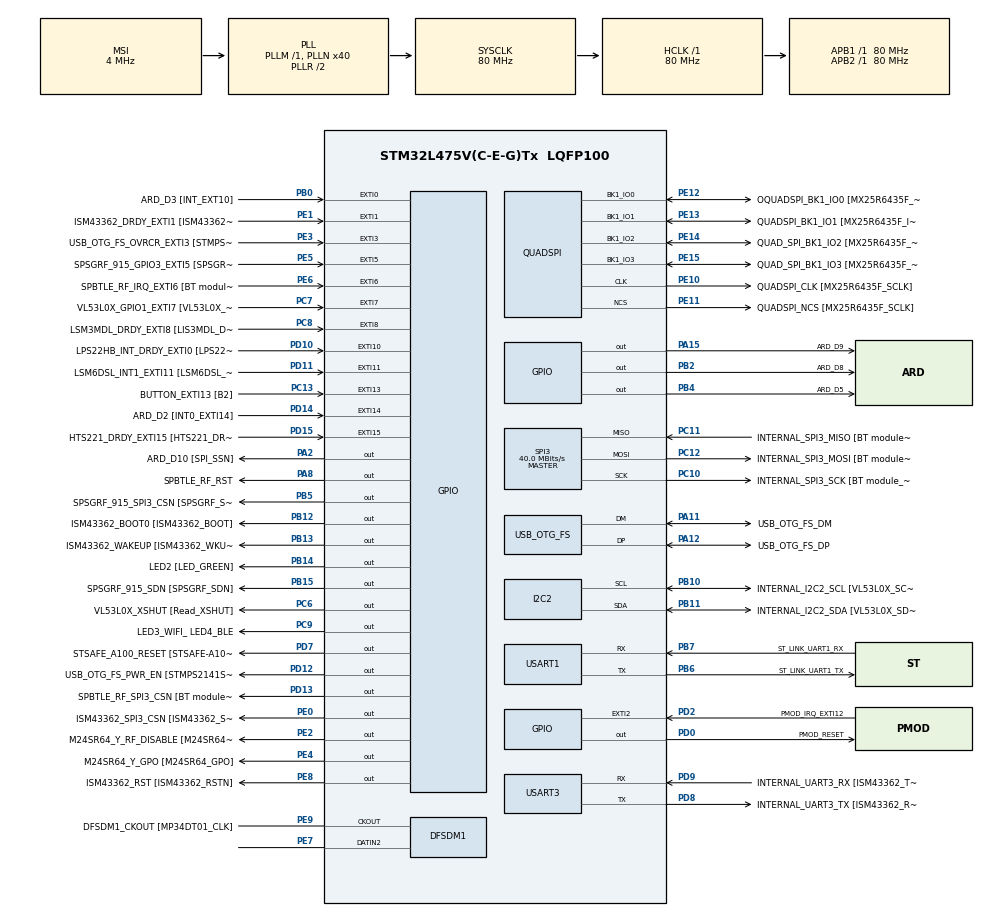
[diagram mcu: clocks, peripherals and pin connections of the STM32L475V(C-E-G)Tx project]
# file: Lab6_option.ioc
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DFSDM1.Divider=40
DFSDM1.DmaMode_reg_FIL0=ENABLE
DFSDM1.FastMode_reg_FIL0=ENABLE
DFSDM1.Filter_regChannel_FIL0=DFSDM_CHANNEL_2
DFSDM1.SincOrder_FIL0=DFSDM_FILTER_SINC3_ORDER
Dma.DFSDM1_FLT0.0.Direction=DMA_PERIPH_TO_MEMORY
Dma.DFSDM1_FLT0.0.Instance=DMA1_Channel4
Dma.DFSDM1_FLT0.0.MemDataAlignment=DMA_MDATAALIGN_WORD
Dma.DFSDM1_FLT0.0.MemInc=DMA_MINC_ENABLE
Dma.DFSDM1_FLT0.0.Mode=DMA_CIRCULAR
Dma.DFSDM1_FLT0.0.PeriphDataAlignment=DMA_PDATAALIGN_WORD
Dma.DFSDM1_FLT0.0.PeriphInc=DMA_PINC_DISABLE
Dma.DFSDM1_FLT0.0.Priority=DMA_PRIORITY_LOW
Dma.Request0=DFSDM1_FLT0
I2C2.Timing=0x10D19CE4
Mcu.Family=STM32L4
Mcu.Name=STM32L475V(C-E-G)Tx
Mcu.Package=LQFP100
NVIC.DMA1_Channel4_IRQn=true\:0\:0\:false\:false\:true\:false\:true\:true
NVIC.EXTI15_10_IRQn=true\:0\:0\:false\:false\:true\:true\:true\:true
NVIC.EXTI9_5_IRQn=true\:0\:0\:false\:false\:true\:true\:true\:true
NVIC.PriorityGroup=NVIC_PRIORITYGROUP_4
PA0.GPIO_Label=ARD_D1 [UART4_TX]
PA0.Signal=UART4_TX
PA1.GPIO_Label=ARD_D0 [UART4_RX]
PA1.Signal=UART4_RX
PA10.GPIO_Label=USB_OTG_FS_ID
PA10.Signal=USB_OTG_FS_ID
PA11.GPIO_Label=USB_OTG_FS_DM
PA11.Mode=Device_Only
PA11.Signal=USB_OTG_FS_DM
PA12.GPIO_Label=USB_OTG_FS_DP
PA12.Mode=Device_Only
PA12.Signal=USB_OTG_FS_DP
PA13\ (JTMS-SWDIO).GPIO_Label=SYS_JTMS_SWDIO
PA13\ (JTMS-SWDIO).Mode=Serial_Wire
PA13\ (JTMS-SWDIO).Signal=SYS_JTMS-SWDIO
PA14\ (JTCK-SWCLK).GPIO_Label=SYS_JTCK_SWCLK
PA14\ (JTCK-SWCLK).Mode=Serial_Wire
PA14\ (JTCK-SWCLK).Signal=SYS_JTCK-SWCLK
PA15\ (JTDI).GPIO_Label=ARD_D9
PA15\ (JTDI).Signal=GPIO_Output
PA2.GPIO_Label=ARD_D10 [SPI_SSN]
PA2.Signal=GPIO_Output
PA3.GPIO_Label=ARD_D4
PA3.Signal=S_TIM2_CH4
PA4.GPIO_Label=ARD_D7
PA4.Signal=ADCx_IN9
PA5.GPIO_Label=ARD_D13 [SPI1_SCK]
PA5.Signal=SPI1_SCK
PA6.GPIO_Label=ARD_D12 [SPI1_MISO]
PA6.Signal=SPI1_MISO
PA7.GPIO_Label=ARD_D11 [SPI1_MOSI]
PA7.Signal=SPI1_MOSI
PA8.GPIO_Label=SPBTLE_RF_RST
PA8.Signal=GPIO_Output
PA9.GPIO_Label=USB_OTG_FS_VBUS [STMPS2141STR_OUT]
PA9.Signal=USB_OTG_FS_VBUS
PB0.GPIO_Label=ARD_D3 [INT_EXT10]
PB0.Signal=GPXTI0
PB1.GPIO_Label=ARD_D6 [ADC1_IN6]
PB1.Signal=ADCx_IN16
PB10.GPIO_Label=INTERNAL_I2C2_SCL [VL53L0X_SCL]
PB10.GPIO_Pu=GPIO_PULLUP
PB10.Mode=I2C
PB10.Signal=I2C2_SCL
PB11.GPIO_Label=INTERNAL_I2C2_SDA [VL53L0X_SDA]
PB11.GPIO_Pu=GPIO_PULLUP
PB11.Mode=I2C
PB11.Signal=I2C2_SDA
PB12.GPIO_Label=ISM43362_BOOT0 [ISM43362_BOOT]
PB12.Signal=GPIO_Output
PB13.GPIO_Label=ISM43362_WAKEUP [ISM43362_WKUP]
PB13.Signal=GPIO_Output
PB14.GPIO_Label=LED2 [LED_GREEN]
PB14.Signal=GPIO_Output
PB15.GPIO_Label=SPSGRF_915_SDN [SPSGRF_SDN]
PB15.Signal=GPIO_Output
PB2.GPIO_Label=ARD_D8
PB2.Signal=GPIO_Output
PB3\ (JTDO-TRACESWO).GPIO_Label=SYS_JTD0_SWO
PB3\ (JTDO-TRACESWO).Signal=SYS_JTDO-SWO
PB4\ (NJTRST).GPIO_Label=ARD_D5
PB4\ (NJTRST).Signal=GPIO_Output
PB5.GPIO_Label=SPSGRF_915_SPI3_CSN [SPSGRF_SPI_CS]
PB5.PinState=GPIO_PIN_SET
PB5.Signal=GPIO_Output
PB6.GPIO_Label=ST_LINK_UART1_TX
PB6.Mode=Asynchronous
PB6.Signal=USART1_TX
PB7.GPIO_Label=ST_LINK_UART1_RX
PB7.Mode=Asynchronous
PB7.Signal=USART1_RX
PB8.GPIO_Label=ARD_D15 [I2C1_SCL]
PB8.Signal=I2C1_SCL
PB9.GPIO_Label=ARD_D14 [I2C1_SDA]
PB9.Signal=I2C1_SDA
PC0.GPIO_Label=ARD_A5 [ADC]
PC0.Signal=ADCx_IN1
PC1.GPIO_Label=ARD_A4 [ADC]
PC1.Signal=ADCx_IN2
PC10.GPIO_Label=INTERNAL_SPI3_SCK [BT module_SPI_SCLK] [ISM43362_SCK]
PC10.Mode=Full_Duplex_Master
PC10.Signal=SPI3_SCK
PC11.GPIO_Label=INTERNAL_SPI3_MISO [BT module_SPI_MISO] [ISM43362_MISO]
PC11.Mode=Full_Duplex_Master
PC11.Signal=SPI3_MISO
PC12.GPIO_Label=INTERNAL_SPI3_MOSI [BT module_SPI_MOSI] [ISM43362_MOSI]
PC12.Mode=Full_Duplex_Master
PC12.Signal=SPI3_MOSI
PC13.GPIO_Label=BUTTON_EXTI13 [B2]
PC13.GPIO_ModeDefaultEXTI=GPIO_MODE_IT_FALLING
PC13.Signal=GPXTI13
PC14-OSC32_IN\ (PC14).Mode=LSE-External-Oscillator
PC14-OSC32_IN\ (PC14).Signal=RCC_OSC32_IN
PC15-OSC32_OUT\ (PC15).Mode=LSE-External-Oscillator
PC15-OSC32_OUT\ (PC15).Signal=RCC_OSC32_OUT
PC2.GPIO_Label=ARD_A3 [ADC]
PC2.Signal=ADCx_IN3
PC3.GPIO_Label=ARD_A2 [ADC]
PC3.Signal=ADCx_IN4
PC4.GPIO_Label=ARD_A1 [ADC]
PC4.Signal=ADCx_IN13
PC5.GPIO_Label=ARD_A0 [ADC]
PC5.Signal=ADCx_IN14
PC6.GPIO_Label=VL53L0X_XSHUT [Read_XSHUT]
PC6.Signal=GPIO_Output
PC7.GPIO_Label=VL53L0X_GPIO1_EXTI7 [VL53L0X_GPIO1]
PC7.Signal=GPXTI7
PC8.GPIO_Label=LSM3MDL_DRDY_EXTI8 [LIS3MDL_DRDY]
PC8.Signal=GPXTI8
PC9.GPIO_Label=LED3_WIFI_ LED4_BLE
PC9.Signal=GPIO_Output
PD0.GPIO_Label=PMOD_RESET
PD0.Signal=GPIO_Output
PD1.GPIO_Label=PMOD_SPI2_SCK
PD1.Signal=SPI2_SCK
PD10.GPIO_Label=LPS22HB_INT_DRDY_EXTI0 [LPS22HB_INT_DRDY] 
PD10.Signal=GPXTI10
PD11.GPIO_Label=LSM6DSL_INT1_EXTI11 [LSM6DSL_INT1]
PD11.Signal=GPXTI11
PD12.GPIO_Label=USB_OTG_FS_PWR_EN [STMPS2141STR_EN]
PD12.Signal=GPIO_Output
PD13.GPIO_Label=SPBTLE_RF_SPI3_CSN [BT module_SPI_CS]
PD13.PinState=GPIO_PIN_SET
PD13.Signal=GPIO_Output
PD14.GPIO_Label=ARD_D2 [INT0_EXTI14]
PD14.Signal=GPXTI14
PD15.GPIO_Label=HTS221_DRDY_EXTI15 [HTS221_DRDY]
PD15.Signal=GPXTI15
PD2.GPIO_Label=PMOD_IRQ_EXTI12
PD2.Signal=GPXTI2
PD3.GPIO_Label=PMOD_UART2_CTS
PD3.Signal=USART2_CTS
PD4.GPIO_Label=PMOD_UART2_RTS
PD4.Signal=USART2_RTS
PD5.GPIO_Label=PMOD_UART2_TX
PD5.Signal=USART2_TX
PD6.GPIO_Label=PMOD_UART2_RX
PD6.Signal=USART2_RX
PD7.GPIO_Label=STSAFE_A100_RESET [STSAFE-A100_RESET]
PD7.Signal=GPIO_Output
PD8.GPIO_Label=INTERNAL_UART3_TX [ISM43362_RX]
PD8.Mode=Asynchronous
PD8.Signal=USART3_TX
PD9.GPIO_Label=INTERNAL_UART3_RX [ISM43362_TX]
PD9.Mode=Asynchronous
PD9.Signal=USART3_RX
PE0.GPIO_Label=ISM43362_SPI3_CSN [ISM43362_SSN]
PE0.PinState=GPIO_PIN_SET
PE0.Signal=GPIO_Output
PE1.GPIO_Label=ISM43362_DRDY_EXTI1 [ISM43362_DATARDY]
PE1.Signal=GPXTI1
PE10.GPIO_Label=QUADSPI_CLK [MX25R6435F_SCLK]
PE10.Mode=Single Bank
PE10.Signal=QUADSPI_CLK
PE11.GPIO_Label=QUADSPI_NCS [MX25R6435F_SCLK]
PE11.Mode=Single Bank
PE11.Signal=QUADSPI_NCS
PE12.GPIO_Label=OQUADSPI_BK1_IO0 [MX25R6435F_IO0]
PE12.Mode=Single Bank
PE12.Signal=QUADSPI_BK1_IO0
PE13.GPIO_Label=QUADSPI_BK1_IO1 [MX25R6435F_IO1]
PE13.Mode=Single Bank
PE13.Signal=QUADSPI_BK1_IO1
PE14.GPIO_Label=QUAD_SPI_BK1_IO2 [MX25R6435F_IO2]
PE14.Mode=Single Bank
PE14.Signal=QUADSPI_BK1_IO2
PE15.GPIO_Label=QUAD_SPI_BK1_IO3 [MX25R6435F_IO3]
PE15.Mode=Single Bank
PE15.Signal=QUADSPI_BK1_IO3
PE2.GPIO_Label=M24SR64_Y_RF_DISABLE [M24SR64_RFDIS]
PE2.Signal=GPIO_Output
PE3.GPIO_Label=USB_OTG_FS_OVRCR_EXTI3 [STMPS2141STR_FAULT]
PE3.Signal=GPXTI3
PE4.GPIO_Label=M24SR64_Y_GPO [M24SR64_GPO]
PE4.Signal=GPIO_Output
PE5.GPIO_Label=SPSGRF_915_GPIO3_EXTI5 [SPSGRF_GPIO_3]
PE5.Signal=GPXTI5
PE6.GPIO_Label=SPBTLE_RF_IRQ_EXTI6 [BT module_SPI_IRQ]
PE6.Signal=GPXTI6
PE7.Signal=S_DATAIN2DFSDM1
PE8.GPIO_Label=ISM43362_RST [ISM43362_RSTN]
PE8.Signal=GPIO_Output
PE9.GPIO_Label=DFSDM1_CKOUT [MP34DT01_CLK]
PE9.Signal=S_CKOUTDFSDM1
ProjectManager.HeapSize=0x200
ProjectManager.StackSize=0x400
ProjectManager.TargetToolchain=STM32CubeIDE
QUADSPI.ClockPrescaler=2
QUADSPI.FifoThreshold=4
QUADSPI.FlashSize=23
QUADSPI.SampleShifting=QSPI_SAMPLE_SHIFTING_HALFCYCLE
RCC.ADCFreq_Value=48000000
RCC.AHBFreq_Value=80000000
RCC.APB1Freq_Value=80000000
RCC.APB1TimFreq_Value=80000000
RCC.APB2Freq_Value=80000000
RCC.APB2TimFreq_Value=80000000
RCC.CortexFreq_Value=80000000
RCC.HCLKFreq_Value=80000000
RCC.HSE_VALUE=8000000
RCC.HSI_VALUE=16000000
RCC.MSI_VALUE=4000000
RCC.PLLN=40
RCC.PLLSAI1N=24
RCC.SYSCLKFreq_VALUE=80000000
RCC.SYSCLKSource=RCC_SYSCLKSOURCE_PLLCLK
RCC.USBFreq_Value=48000000
RCC.VCOOutputFreq_Value=160000000
SH.ADCx_IN1.0=ADC1_IN1
SH.ADCx_IN13.0=ADC1_IN13
SH.ADCx_IN14.0=ADC1_IN14
SH.ADCx_IN16.0=ADC1_IN16
SH.ADCx_IN2.0=ADC1_IN2
SH.ADCx_IN3.0=ADC1_IN3
SH.ADCx_IN4.0=ADC1_IN4
SH.ADCx_IN9.0=ADC1_IN9
SH.S_CKOUTDFSDM1.0=DFSDM1_CKOUT
SH.S_CKOUTDFSDM1.1=DFSDM1_CKOUT
SH.S_CKOUTDFSDM1.2=DFSDM1_CKOUT,PDM_SPI_input_from_ch2_and_internal_clock
SH.S_DATAIN2DFSDM1.0=DFSDM1_DATIN2,PDM_SPI_input_from_ch2_and_internal_clock
SH.S_TIM2_CH4.0=TIM2_CH4
SPI3.CalculateBaudRate=40.0 MBits/s
SPI3.Direction=SPI_DIRECTION_2LINES
SPI3.Mode=SPI_MODE_MASTER
SPI3.VirtualType=VM_MASTER
USART1.VirtualMode-Asynchronous=VM_ASYNC
USART3.VirtualMode-Asynchronous=VM_ASYNC
USB_OTG_FS.VirtualMode=Device_Only
board=B-L475E-IOT01A2

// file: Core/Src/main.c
/* USER CODE BEGIN Header */
/**
  ******************************************************************************
  * @file           : main.c
  * @brief          : Main program body
  ******************************************************************************
  * @attention
  *
  * Copyright (c) 2026 STMicroelectronics.
  * All rights reserved.
  *
  * This software is licensed under terms that can be found in the LICENSE file
  * in the root directory of this software component.
  * If no LICENSE file comes with this software, it is provided AS-IS.
  *
  ******************************************************************************
  */
/* USER CODE END Header */
#include "main.h"

DFSDM_Filter_HandleTypeDef hdfsdm1_filter0;
DFSDM_Channel_HandleTypeDef hdfsdm1_channel2;
DMA_HandleTypeDef hdma_dfsdm1_flt0;

I2C_HandleTypeDef hi2c2;

QSPI_HandleTypeDef hqspi;

SPI_HandleTypeDef hspi3;

UART_HandleTypeDef huart1;
UART_HandleTypeDef huart3;

PCD_HandleTypeDef hpcd_USB_OTG_FS;

/* USER CODE BEGIN PV */
#define AUDIO_REC 1024
int32_t RecBuf[AUDIO_REC];
int32_t PlayBuf[AUDIO_REC];

uint8_t DmaRecHalfBuffCplt=0;
uint8_t DmaRecBuffCplt=0;
/* USER CODE END PV */

void SystemClock_Config(void);
static void MX_GPIO_Init(void);
static void MX_DMA_Init(void);
static void MX_DFSDM1_Init(void);
static void MX_I2C2_Init(void);
static void MX_QUADSPI_Init(void);
static void MX_SPI3_Init(void);
static void MX_USART1_UART_Init(void);
static void MX_USART3_UART_Init(void);
static void MX_USB_OTG_FS_PCD_Init(void);

int main(void)
{

  /* USER CODE BEGIN 1 */
  uint16_t i=0;
  /* USER CODE END 1 */

  /* MCU Configuration--------------------------------------------------------*/

  /* Reset of all peripherals, Initializes the Flash interface and the Systick. */
  HAL_Init();

  /* Configure the system clock */
  SystemClock_Config();

  /* Initialize all configured peripherals */
  MX_GPIO_Init();
  MX_DMA_Init();
  MX_DFSDM1_Init();
  MX_I2C2_Init();
  MX_QUADSPI_Init();
  MX_SPI3_Init();
  MX_USART1_UART_Init();
  MX_USART3_UART_Init();
  MX_USB_OTG_FS_PCD_Init();
  /* USER CODE BEGIN 2 */
  HAL_DFSDM_FilterRegularStart_DMA(&hdfsdm1_filter0, RecBuf, AUDIO_REC)
  ;
  /* USER CODE END 2 */

  /* Infinite loop */
  while (1)
  {

    /* USER CODE BEGIN 3 */
	if(DmaRecHalfBuffCplt==1)
	{
		for(i=0;i<AUDIO_REC/2;i++)
			PlayBuf[i]=RecBuf[i]>>8;

		DmaRecBuffCplt=0;
	}
	if(DmaRecBuffCplt==1)
	{
		for(i=AUDIO_REC/2;i<AUDIO_REC;i++)
			PlayBuf[i]=RecBuf[i]>>8;

		DmaRecHalfBuffCplt=0;
	}
  }
  /* USER CODE END 3 */
}

void SystemClock_Config(void)
{
  RCC_OscInitTypeDef RCC_OscInitStruct = {0};
  RCC_ClkInitTypeDef RCC_ClkInitStruct = {0};

  /** Configure the main internal regulator output voltage
  */
  if (HAL_PWREx_ControlVoltageScaling(PWR_REGULATOR_VOLTAGE_SCALE1) != HAL_OK)
  {
    Error_Handler();
  }

  /** Configure LSE Drive Capability
  */
  HAL_PWR_EnableBkUpAccess();
  __HAL_RCC_LSEDRIVE_CONFIG(RCC_LSEDRIVE_LOW);

  /** Initializes the RCC Oscillators according to the specified parameters
  * in the RCC_OscInitTypeDef structure.
  */
  RCC_OscInitStruct.OscillatorType = RCC_OSCILLATORTYPE_LSE|RCC_OSCILLATORTYPE_MSI;
  RCC_OscInitStruct.LSEState = RCC_LSE_ON;
  RCC_OscInitStruct.MSIState = RCC_MSI_ON;
  RCC_OscInitStruct.MSICalibrationValue = 0;
  RCC_OscInitStruct.MSIClockRange = RCC_MSIRANGE_6;
  RCC_OscInitStruct.PLL.PLLState = RCC_PLL_ON;
  RCC_OscInitStruct.PLL.PLLSource = RCC_PLLSOURCE_MSI;
  RCC_OscInitStruct.PLL.PLLM = 1;
  RCC_OscInitStruct.PLL.PLLN = 40;
  RCC_OscInitStruct.PLL.PLLP = RCC_PLLP_DIV7;
  RCC_OscInitStruct.PLL.PLLQ = RCC_PLLQ_DIV2;
  RCC_OscInitStruct.PLL.PLLR = RCC_PLLR_DIV2;
  if (HAL_RCC_OscConfig(&RCC_OscInitStruct) != HAL_OK)
  {
    Error_Handler();
  }

  /** Initializes the CPU, AHB and APB buses clocks
  */
  RCC_ClkInitStruct.ClockType = RCC_CLOCKTYPE_HCLK|RCC_CLOCKTYPE_SYSCLK
                              |RCC_CLOCKTYPE_PCLK1|RCC_CLOCKTYPE_PCLK2;
  RCC_ClkInitStruct.SYSCLKSource = RCC_SYSCLKSOURCE_PLLCLK;
  RCC_ClkInitStruct.AHBCLKDivider = RCC_SYSCLK_DIV1;
  RCC_ClkInitStruct.APB1CLKDivider = RCC_HCLK_DIV1;
  RCC_ClkInitStruct.APB2CLKDivider = RCC_HCLK_DIV1;

  if (HAL_RCC_ClockConfig(&RCC_ClkInitStruct, FLASH_LATENCY_4) != HAL_OK)
  {
    Error_Handler();
  }

  /** Enable MSI Auto calibration
  */
  HAL_RCCEx_EnableMSIPLLMode();
}

static void MX_DFSDM1_Init(void)
{

  hdfsdm1_filter0.Instance = DFSDM1_Filter0;
  hdfsdm1_filter0.Init.RegularParam.Trigger = DFSDM_FILTER_SW_TRIGGER;
  hdfsdm1_filter0.Init.RegularParam.FastMode = ENABLE;
  hdfsdm1_filter0.Init.RegularParam.DmaMode = ENABLE;
  hdfsdm1_filter0.Init.FilterParam.SincOrder = DFSDM_FILTER_SINC3_ORDER;
  hdfsdm1_filter0.Init.FilterParam.Oversampling = 1;
  hdfsdm1_filter0.Init.FilterParam.IntOversampling = 1;
  if (HAL_DFSDM_FilterInit(&hdfsdm1_filter0) != HAL_OK)
  {
    Error_Handler();
  }
  hdfsdm1_channel2.Instance = DFSDM1_Channel2;
  hdfsdm1_channel2.Init.OutputClock.Activation = ENABLE;
  hdfsdm1_channel2.Init.OutputClock.Selection = DFSDM_CHANNEL_OUTPUT_CLOCK_SYSTEM;
  hdfsdm1_channel2.Init.OutputClock.Divider = 40;
  hdfsdm1_channel2.Init.Input.Multiplexer = DFSDM_CHANNEL_EXTERNAL_INPUTS;
  hdfsdm1_channel2.Init.Input.DataPacking = DFSDM_CHANNEL_STANDARD_MODE;
  hdfsdm1_channel2.Init.Input.Pins = DFSDM_CHANNEL_SAME_CHANNEL_PINS;
  hdfsdm1_channel2.Init.SerialInterface.Type = DFSDM_CHANNEL_SPI_RISING;
  hdfsdm1_channel2.Init.SerialInterface.SpiClock = DFSDM_CHANNEL_SPI_CLOCK_INTERNAL;
  hdfsdm1_channel2.Init.Awd.FilterOrder = DFSDM_CHANNEL_FASTSINC_ORDER;
  hdfsdm1_channel2.Init.Awd.Oversampling = 1;
  hdfsdm1_channel2.Init.Offset = 0;
  hdfsdm1_channel2.Init.RightBitShift = 0x00;
  if (HAL_DFSDM_ChannelInit(&hdfsdm1_channel2) != HAL_OK)
  {
    Error_Handler();
  }
  if (HAL_DFSDM_FilterConfigRegChannel(&hdfsdm1_filter0, DFSDM_CHANNEL_2, DFSDM_CONTINUOUS_CONV_ON) != HAL_OK)
  {
    Error_Handler();
  }

}

static void MX_I2C2_Init(void)
{

  hi2c2.Instance = I2C2;
  hi2c2.Init.Timing = 0x10D19CE4;
  hi2c2.Init.OwnAddress1 = 0;
  hi2c2.Init.AddressingMode = I2C_ADDRESSINGMODE_7BIT;
  hi2c2.Init.DualAddressMode = I2C_DUALADDRESS_DISABLE;
  hi2c2.Init.OwnAddress2 = 0;
  hi2c2.Init.OwnAddress2Masks = I2C_OA2_NOMASK;
  hi2c2.Init.GeneralCallMode = I2C_GENERALCALL_DISABLE;
  hi2c2.Init.NoStretchMode = I2C_NOSTRETCH_DISABLE;
  if (HAL_I2C_Init(&hi2c2) != HAL_OK)
  {
    Error_Handler();
  }

  /** Configure Analogue filter
  */
  if (HAL_I2CEx_ConfigAnalogFilter(&hi2c2, I2C_ANALOGFILTER_ENABLE) != HAL_OK)
  {
    Error_Handler();
  }

  /** Configure Digital filter
  */
  if (HAL_I2CEx_ConfigDigitalFilter(&hi2c2, 0) != HAL_OK)
  {
    Error_Handler();
  }

}

static void MX_QUADSPI_Init(void)
{

  /* QUADSPI parameter configuration*/
  hqspi.Instance = QUADSPI;
  hqspi.Init.ClockPrescaler = 2;
  hqspi.Init.FifoThreshold = 4;
  hqspi.Init.SampleShifting = QSPI_SAMPLE_SHIFTING_HALFCYCLE;
  hqspi.Init.FlashSize = 23;
  hqspi.Init.ChipSelectHighTime = QSPI_CS_HIGH_TIME_1_CYCLE;
  hqspi.Init.ClockMode = QSPI_CLOCK_MODE_0;
  if (HAL_QSPI_Init(&hqspi) != HAL_OK)
  {
    Error_Handler();
  }

}

static void MX_SPI3_Init(void)
{

  /* SPI3 parameter configuration*/
  hspi3.Instance = SPI3;
  hspi3.Init.Mode = SPI_MODE_MASTER;
  hspi3.Init.Direction = SPI_DIRECTION_2LINES;
  hspi3.Init.DataSize = SPI_DATASIZE_4BIT;
  hspi3.Init.CLKPolarity = SPI_POLARITY_LOW;
  hspi3.Init.CLKPhase = SPI_PHASE_1EDGE;
  hspi3.Init.NSS = SPI_NSS_SOFT;
  hspi3.Init.BaudRatePrescaler = SPI_BAUDRATEPRESCALER_2;
  hspi3.Init.FirstBit = SPI_FIRSTBIT_MSB;
  hspi3.Init.TIMode = SPI_TIMODE_DISABLE;
  hspi3.Init.CRCCalculation = SPI_CRCCALCULATION_DISABLE;
  hspi3.Init.CRCPolynomial = 7;
  hspi3.Init.CRCLength = SPI_CRC_LENGTH_DATASIZE;
  hspi3.Init.NSSPMode = SPI_NSS_PULSE_ENABLE;
  if (HAL_SPI_Init(&hspi3) != HAL_OK)
  {
    Error_Handler();
  }

}

static void MX_USART1_UART_Init(void)
{

  huart1.Instance = USART1;
  huart1.Init.BaudRate = 115200;
  huart1.Init.WordLength = UART_WORDLENGTH_8B;
  huart1.Init.StopBits = UART_STOPBITS_1;
  huart1.Init.Parity = UART_PARITY_NONE;
  huart1.Init.Mode = UART_MODE_TX_RX;
  huart1.Init.HwFlowCtl = UART_HWCONTROL_NONE;
  huart1.Init.OverSampling = UART_OVERSAMPLING_16;
  huart1.Init.OneBitSampling = UART_ONE_BIT_SAMPLE_DISABLE;
  huart1.AdvancedInit.AdvFeatureInit = UART_ADVFEATURE_NO_INIT;
  if (HAL_UART_Init(&huart1) != HAL_OK)
  {
    Error_Handler();
  }

}

static void MX_USART3_UART_Init(void)
{

  huart3.Instance = USART3;
  huart3.Init.BaudRate = 115200;
  huart3.Init.WordLength = UART_WORDLENGTH_8B;
  huart3.Init.StopBits = UART_STOPBITS_1;
  huart3.Init.Parity = UART_PARITY_NONE;
  huart3.Init.Mode = UART_MODE_TX_RX;
  huart3.Init.HwFlowCtl = UART_HWCONTROL_NONE;
  huart3.Init.OverSampling = UART_OVERSAMPLING_16;
  huart3.Init.OneBitSampling = UART_ONE_BIT_SAMPLE_DISABLE;
  huart3.AdvancedInit.AdvFeatureInit = UART_ADVFEATURE_NO_INIT;
  if (HAL_UART_Init(&huart3) != HAL_OK)
  {
    Error_Handler();
  }

}

static void MX_USB_OTG_FS_PCD_Init(void)
{

  hpcd_USB_OTG_FS.Instance = USB_OTG_FS;
  hpcd_USB_OTG_FS.Init.dev_endpoints = 6;
  hpcd_USB_OTG_FS.Init.speed = PCD_SPEED_FULL;
  hpcd_USB_OTG_FS.Init.phy_itface = PCD_PHY_EMBEDDED;
  hpcd_USB_OTG_FS.Init.Sof_enable = DISABLE;
  hpcd_USB_OTG_FS.Init.low_power_enable = DISABLE;
  hpcd_USB_OTG_FS.Init.lpm_enable = DISABLE;
  hpcd_USB_OTG_FS.Init.battery_charging_enable = DISABLE;
  hpcd_USB_OTG_FS.Init.use_dedicated_ep1 = DISABLE;
  hpcd_USB_OTG_FS.Init.vbus_sensing_enable = DISABLE;
  if (HAL_PCD_Init(&hpcd_USB_OTG_FS) != HAL_OK)
  {
    Error_Handler();
  }

}

static void MX_DMA_Init(void)
{

  /* DMA controller clock enable */
  __HAL_RCC_DMA1_CLK_ENABLE();

  /* DMA interrupt init */
  /* DMA1_Channel4_IRQn interrupt configuration */
  HAL_NVIC_SetPriority(DMA1_Channel4_IRQn, 0, 0);
  HAL_NVIC_EnableIRQ(DMA1_Channel4_IRQn);

}

static void MX_GPIO_Init(void)
{
  GPIO_InitTypeDef GPIO_InitStruct = {0};

  /* GPIO Ports Clock Enable */
  __HAL_RCC_GPIOE_CLK_ENABLE();
  __HAL_RCC_GPIOC_CLK_ENABLE();
  __HAL_RCC_GPIOA_CLK_ENABLE();
  __HAL_RCC_GPIOB_CLK_ENABLE();
  __HAL_RCC_GPIOD_CLK_ENABLE();

  /*Configure GPIO pin Output Level */
  HAL_GPIO_WritePin(GPIOE, M24SR64_Y_RF_DISABLE_Pin|M24SR64_Y_GPO_Pin|ISM43362_RST_Pin, GPIO_PIN_RESET);

  /*Configure GPIO pin Output Level */
  HAL_GPIO_WritePin(GPIOA, ARD_D10_Pin|SPBTLE_RF_RST_Pin|ARD_D9_Pin, GPIO_PIN_RESET);

  /*Configure GPIO pin Output Level */
  HAL_GPIO_WritePin(GPIOB, ARD_D8_Pin|ISM43362_BOOT0_Pin|ISM43362_WAKEUP_Pin|LED2_Pin
                          |SPSGRF_915_SDN_Pin|ARD_D5_Pin, GPIO_PIN_RESET);

  /*Configure GPIO pin Output Level */
  HAL_GPIO_WritePin(GPIOD, USB_OTG_FS_PWR_EN_Pin|PMOD_RESET_Pin|STSAFE_A100_RESET_Pin, GPIO_PIN_RESET);

  /*Configure GPIO pin Output Level */
  HAL_GPIO_WritePin(SPBTLE_RF_SPI3_CSN_GPIO_Port, SPBTLE_RF_SPI3_CSN_Pin, GPIO_PIN_SET);

  /*Configure GPIO pin Output Level */
  HAL_GPIO_WritePin(GPIOC, VL53L0X_XSHUT_Pin|LED3_WIFI__LED4_BLE_Pin, GPIO_PIN_RESET);

  /*Configure GPIO pin Output Level */
  HAL_GPIO_WritePin(SPSGRF_915_SPI3_CSN_GPIO_Port, SPSGRF_915_SPI3_CSN_Pin, GPIO_PIN_SET);

  /*Configure GPIO pin Output Level */
  HAL_GPIO_WritePin(ISM43362_SPI3_CSN_GPIO_Port, ISM43362_SPI3_CSN_Pin, GPIO_PIN_SET);

  /*Configure GPIO pins : M24SR64_Y_RF_DISABLE_Pin M24SR64_Y_GPO_Pin ISM43362_RST_Pin ISM43362_SPI3_CSN_Pin */
  GPIO_InitStruct.Pin = M24SR64_Y_RF_DISABLE_Pin|M24SR64_Y_GPO_Pin|ISM43362_RST_Pin|ISM43362_SPI3_CSN_Pin;
  GPIO_InitStruct.Mode = GPIO_MODE_OUTPUT_PP;
  GPIO_InitStruct.Pull = GPIO_NOPULL;
  GPIO_InitStruct.Speed = GPIO_SPEED_FREQ_LOW;
  HAL_GPIO_Init(GPIOE, &GPIO_InitStruct);

  /*Configure GPIO pins : USB_OTG_FS_OVRCR_EXTI3_Pin SPSGRF_915_GPIO3_EXTI5_Pin SPBTLE_RF_IRQ_EXTI6_Pin ISM43362_DRDY_EXTI1_Pin */
  GPIO_InitStruct.Pin = USB_OTG_FS_OVRCR_EXTI3_Pin|SPSGRF_915_GPIO3_EXTI5_Pin|SPBTLE_RF_IRQ_EXTI6_Pin|ISM43362_DRDY_EXTI1_Pin;
  GPIO_InitStruct.Mode = GPIO_MODE_IT_RISING;
  GPIO_InitStruct.Pull = GPIO_NOPULL;
  HAL_GPIO_Init(GPIOE, &GPIO_InitStruct);

  /*Configure GPIO pin : BUTTON_EXTI13_Pin */
  GPIO_InitStruct.Pin = BUTTON_EXTI13_Pin;
  GPIO_InitStruct.Mode = GPIO_MODE_IT_FALLING;
  GPIO_InitStruct.Pull = GPIO_NOPULL;
  HAL_GPIO_Init(BUTTON_EXTI13_GPIO_Port, &GPIO_InitStruct);

  /*Configure GPIO pins : ARD_A5_Pin ARD_A4_Pin ARD_A3_Pin ARD_A2_Pin
                           ARD_A1_Pin ARD_A0_Pin */
  GPIO_InitStruct.Pin = ARD_A5_Pin|ARD_A4_Pin|ARD_A3_Pin|ARD_A2_Pin
                          |ARD_A1_Pin|ARD_A0_Pin;
  GPIO_InitStruct.Mode = GPIO_MODE_ANALOG_ADC_CONTROL;
  GPIO_InitStruct.Pull = GPIO_NOPULL;
  HAL_GPIO_Init(GPIOC, &GPIO_InitStruct);

  /*Configure GPIO pins : ARD_D1_Pin ARD_D0_Pin */
  GPIO_InitStruct.Pin = ARD_D1_Pin|ARD_D0_Pin;
  GPIO_InitStruct.Mode = GPIO_MODE_AF_PP;
  GPIO_InitStruct.Pull = GPIO_NOPULL;
  GPIO_InitStruct.Speed = GPIO_SPEED_FREQ_VERY_HIGH;
  GPIO_InitStruct.Alternate = GPIO_AF8_UART4;
  HAL_GPIO_Init(GPIOA, &GPIO_InitStruct);

  /*Configure GPIO pins : ARD_D10_Pin SPBTLE_RF_RST_Pin ARD_D9_Pin */
  GPIO_InitStruct.Pin = ARD_D10_Pin|SPBTLE_RF_RST_Pin|ARD_D9_Pin;
  GPIO_InitStruct.Mode = GPIO_MODE_OUTPUT_PP;
  GPIO_InitStruct.Pull = GPIO_NOPULL;
  GPIO_InitStruct.Speed = GPIO_SPEED_FREQ_LOW;
  HAL_GPIO_Init(GPIOA, &GPIO_InitStruct);

  /*Configure GPIO pin : ARD_D4_Pin */
  GPIO_InitStruct.Pin = ARD_D4_Pin;
  GPIO_InitStruct.Mode = GPIO_MODE_AF_PP;
  GPIO_InitStruct.Pull = GPIO_NOPULL;
  GPIO_InitStruct.Speed = GPIO_SPEED_FREQ_LOW;
  GPIO_InitStruct.Alternate = GPIO_AF1_TIM2;
  HAL_GPIO_Init(ARD_D4_GPIO_Port, &GPIO_InitStruct);

  /*Configure GPIO pin : ARD_D7_Pin */
  GPIO_InitStruct.Pin = ARD_D7_Pin;
  GPIO_InitStruct.Mode = GPIO_MODE_ANALOG_ADC_CONTROL;
  GPIO_InitStruct.Pull = GPIO_NOPULL;
  HAL_GPIO_Init(ARD_D7_GPIO_Port, &GPIO_InitStruct);

  /*Configure GPIO pins : ARD_D13_Pin ARD_D12_Pin ARD_D11_Pin */
  GPIO_InitStruct.Pin = ARD_D13_Pin|ARD_D12_Pin|ARD_D11_Pin;
  GPIO_InitStruct.Mode = GPIO_MODE_AF_PP;
  GPIO_InitStruct.Pull = GPIO_NOPULL;
  GPIO_InitStruct.Speed = GPIO_SPEED_FREQ_VERY_HIGH;
  GPIO_InitStruct.Alternate = GPIO_AF5_SPI1;
  HAL_GPIO_Init(GPIOA, &GPIO_InitStruct);

  /*Configure GPIO pin : ARD_D3_Pin */
  GPIO_InitStruct.Pin = ARD_D3_Pin;
  GPIO_InitStruct.Mode = GPIO_MODE_IT_RISING;
  GPIO_InitStruct.Pull = GPIO_NOPULL;
  HAL_GPIO_Init(ARD_D3_GPIO_Port, &GPIO_InitStruct);

  /*Configure GPIO pin : ARD_D6_Pin */
  GPIO_InitStruct.Pin = ARD_D6_Pin;
  GPIO_InitStruct.Mode = GPIO_MODE_ANALOG_ADC_CONTROL;
  GPIO_InitStruct.Pull = GPIO_NOPULL;
  HAL_GPIO_Init(ARD_D6_GPIO_Port, &GPIO_InitStruct);

  /*Configure GPIO pins : ARD_D8_Pin ISM43362_BOOT0_Pin ISM43362_WAKEUP_Pin LED2_Pin
                           SPSGRF_915_SDN_Pin ARD_D5_Pin SPSGRF_915_SPI3_CSN_Pin */
  GPIO_InitStruct.Pin = ARD_D8_Pin|ISM43362_BOOT0_Pin|ISM43362_WAKEUP_Pin|LED2_Pin
                          |SPSGRF_915_SDN_Pin|ARD_D5_Pin|SPSGRF_915_SPI3_CSN_Pin;
  GPIO_InitStruct.Mode = GPIO_MODE_OUTPUT_PP;
  GPIO_InitStruct.Pull = GPIO_NOPULL;
  GPIO_InitStruct.Speed = GPIO_SPEED_FREQ_LOW;
  HAL_GPIO_Init(GPIOB, &GPIO_InitStruct);

  /*Configure GPIO pins : LPS22HB_INT_DRDY_EXTI0_Pin LSM6DSL_INT1_EXTI11_Pin ARD_D2_Pin HTS221_DRDY_EXTI15_Pin
                           PMOD_IRQ_EXTI12_Pin */
  GPIO_InitStruct.Pin = LPS22HB_INT_DRDY_EXTI0_Pin|LSM6DSL_INT1_EXTI11_Pin|ARD_D2_Pin|HTS221_DRDY_EXTI15_Pin
                          |PMOD_IRQ_EXTI12_Pin;
  GPIO_InitStruct.Mode = GPIO_MODE_IT_RISING;
  GPIO_InitStruct.Pull = GPIO_NOPULL;
  HAL_GPIO_Init(GPIOD, &GPIO_InitStruct);

  /*Configure GPIO pins : USB_OTG_FS_PWR_EN_Pin SPBTLE_RF_SPI3_CSN_Pin PMOD_RESET_Pin STSAFE_A100_RESET_Pin */
  GPIO_InitStruct.Pin = USB_OTG_FS_PWR_EN_Pin|SPBTLE_RF_SPI3_CSN_Pin|PMOD_RESET_Pin|STSAFE_A100_RESET_Pin;
  GPIO_InitStruct.Mode = GPIO_MODE_OUTPUT_PP;
  GPIO_InitStruct.Pull = GPIO_NOPULL;
  GPIO_InitStruct.Speed = GPIO_SPEED_FREQ_LOW;
  HAL_GPIO_Init(GPIOD, &GPIO_InitStruct);

  /*Configure GPIO pins : VL53L0X_XSHUT_Pin LED3_WIFI__LED4_BLE_Pin */
  GPIO_InitStruct.Pin = VL53L0X_XSHUT_Pin|LED3_WIFI__LED4_BLE_Pin;
  GPIO_InitStruct.Mode = GPIO_MODE_OUTPUT_PP;
  GPIO_InitStruct.Pull = GPIO_NOPULL;
  GPIO_InitStruct.Speed = GPIO_SPEED_FREQ_LOW;
  HAL_GPIO_Init(GPIOC, &GPIO_InitStruct);

  /*Configure GPIO pins : VL53L0X_GPIO1_EXTI7_Pin LSM3MDL_DRDY_EXTI8_Pin */
  GPIO_InitStruct.Pin = VL53L0X_GPIO1_EXTI7_Pin|LSM3MDL_DRDY_EXTI8_Pin;
  GPIO_InitStruct.Mode = GPIO_MODE_IT_RISING;
  GPIO_InitStruct.Pull = GPIO_NOPULL;
  HAL_GPIO_Init(GPIOC, &GPIO_InitStruct);

  /*Configure GPIO pin : PMOD_SPI2_SCK_Pin */
  GPIO_InitStruct.Pin = PMOD_SPI2_SCK_Pin;
  GPIO_InitStruct.Mode = GPIO_MODE_AF_PP;
  GPIO_InitStruct.Pull = GPIO_NOPULL;
  GPIO_InitStruct.Speed = GPIO_SPEED_FREQ_VERY_HIGH;
  GPIO_InitStruct.Alternate = GPIO_AF5_SPI2;
  HAL_GPIO_Init(PMOD_SPI2_SCK_GPIO_Port, &GPIO_InitStruct);

  /*Configure GPIO pins : PMOD_UART2_CTS_Pin PMOD_UART2_RTS_Pin PMOD_UART2_TX_Pin PMOD_UART2_RX_Pin */
  GPIO_InitStruct.Pin = PMOD_UART2_CTS_Pin|PMOD_UART2_RTS_Pin|PMOD_UART2_TX_Pin|PMOD_UART2_RX_Pin;
  GPIO_InitStruct.Mode = GPIO_MODE_AF_PP;
  GPIO_InitStruct.Pull = GPIO_NOPULL;
  GPIO_InitStruct.Speed = GPIO_SPEED_FREQ_VERY_HIGH;
  GPIO_InitStruct.Alternate = GPIO_AF7_USART2;
  HAL_GPIO_Init(GPIOD, &GPIO_InitStruct);

  /*Configure GPIO pins : ARD_D15_Pin ARD_D14_Pin */
  GPIO_InitStruct.Pin = ARD_D15_Pin|ARD_D14_Pin;
  GPIO_InitStruct.Mode = GPIO_MODE_AF_OD;
  GPIO_InitStruct.Pull = GPIO_NOPULL;
  GPIO_InitStruct.Speed = GPIO_SPEED_FREQ_VERY_HIGH;
  GPIO_InitStruct.Alternate = GPIO_AF4_I2C1;
  HAL_GPIO_Init(GPIOB, &GPIO_InitStruct);

  /* EXTI interrupt init*/
  HAL_NVIC_SetPriority(EXTI9_5_IRQn, 0, 0);
  HAL_NVIC_EnableIRQ(EXTI9_5_IRQn);

  HAL_NVIC_SetPriority(EXTI15_10_IRQn, 0, 0);
  HAL_NVIC_EnableIRQ(EXTI15_10_IRQn);

}

/* USER CODE BEGIN 4 */
void HAL_DFSDM_FilterRegConvHalfCpltCallback(DFSDM_Filter_HandleTypeDef *hdfsdm_filter)
{
	DmaRecHalfBuffCplt=1;
	HAL_GPIO_TogglePin(ARD_D9_GPIO_Port, ARD_D9_Pin);
}

void HAL_DFSDM_FilterRegConvCpltCallback(DFSDM_Filter_HandleTypeDef *hdfsdm_filter)
{
	DmaRecBuffCplt=1;
	HAL_GPIO_TogglePin(ARD_D10_GPIO_Port, ARD_D10_Pin);
}
/* USER CODE END 4 */

void Error_Handler(void)
{
  __disable_irq();
  while (1)
  {
  }
}
